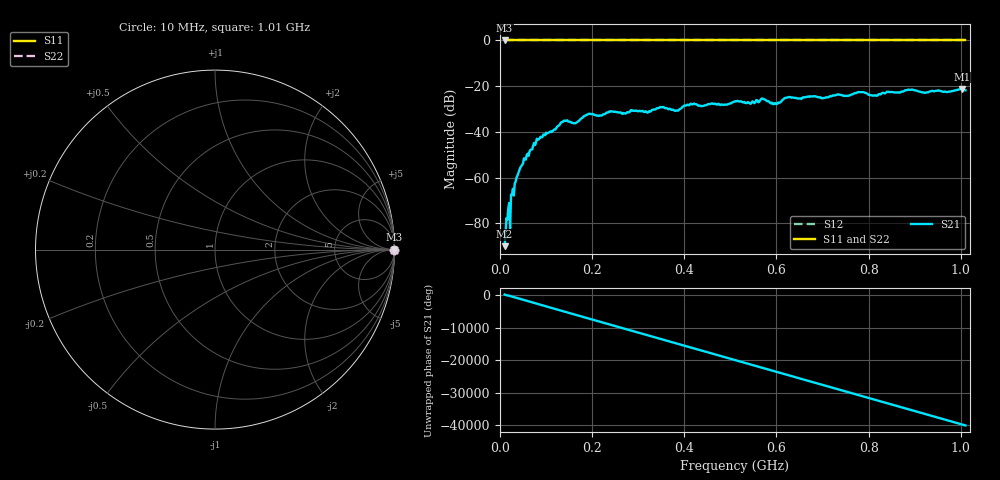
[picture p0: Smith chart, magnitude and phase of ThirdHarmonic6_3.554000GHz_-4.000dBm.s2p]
! 8/17/2025 11:44:10 AM
! C:\ANRITSUVNA\TEMP\TEMP.S2P
! CHANNEL.1
! TR.MEASUREMENT
! RAW.DATA
! RF.CORRECTION.OFF
! AVERAGING.OFF
! IF.BANDWIDTH: 5KHZ
! SWEEPTYPE:  FREQ.SWEEP(Linear)
! Reference Plane Port Info
! PORT:  PORT1  PORT2
! DISTANCE:  0  m  0  m
! TIME:  0  s  0  s
! PHASE.OFFSET:  0  deg.  0  deg.
! LOSS:  0  dB  0  dB
! REF.LOSS:  0  dB  0  dB
! REF.FREQ:  0  Hz  0  Hz
! Power Info
! POWER:  -20  dBm  -20  dBm
! EFF.POWER:  -20  dBm  -20  dBm
! SOURCE.ATTEN:  0  dB  0  dB
! TEST.ATTEN:  0  dB  0  dB
# GHZ S RI R 50.0
! FREQ.GHZ  S11RE  S11IM  S21RE  S21IM  S12RE  S12IM  S22RE  S22IM
!; PortSelection: Port_12
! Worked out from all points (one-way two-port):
!   501 points, 10 MHz to 1.01 GHz, reference 50 ohm
!   highest |S21| = -21.15 dB at 1.002 GHz (marker M1); lowest = -89.9 dB at 10 MHz (marker M2)
!   lowest |S11| = 0.0 dB at 10 MHz (marker M3)
!   |S11| at or under -10 dB: nowhere
!   |S22| runs from 0.0 to 0.0 dB; largest |S21 - S12| = 1.1
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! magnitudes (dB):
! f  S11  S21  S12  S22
! 10 MHz  0.0  -89.9  0.0  0.0
! 18 MHz  0.0  -73.3  0.0  0.0
! 26 MHz  0.0  -67.2  0.0  0.0
! 28 MHz  0.0  -64.9  0.0  0.0
! 40 MHz  0.0  -57.9  0.0  0.0
! 76 MHz  0.0  -45.7  0.0  0.0
! 136 MHz  0.0  -35.7  0.0  0.0
! 164 MHz  0.0  -36.2  0.0  0.0
! 178 MHz  0.0  -33.9  0.0  0.0
! 194 MHz  0.0  -32.0  0.0  0.0
! 322 MHz  0.0  -31.3  0.0  0.0
! 344 MHz  0.0  -29.6  0.0  0.0
! 384 MHz  0.0  -30.6  0.0  0.0
! 416 MHz  0.0  -27.9  0.0  0.0
! 510 MHz  0.0  -26.6  0.0  0.0
! 570 MHz  0.0  -25.5  0.0  0.0
! 598 MHz  0.0  -27.5  0.0  0.0
! 624 MHz  0.0  -24.9  0.0  0.0
! 678 MHz  0.0  -24.4  0.0  0.0
! 844 MHz  0.0  -22.5  0.0  0.0
! 1.002 GHz  0.0  -21.2  0.0  0.0
! 1.01 GHz  0.0  -21.8  0.0  0.0
